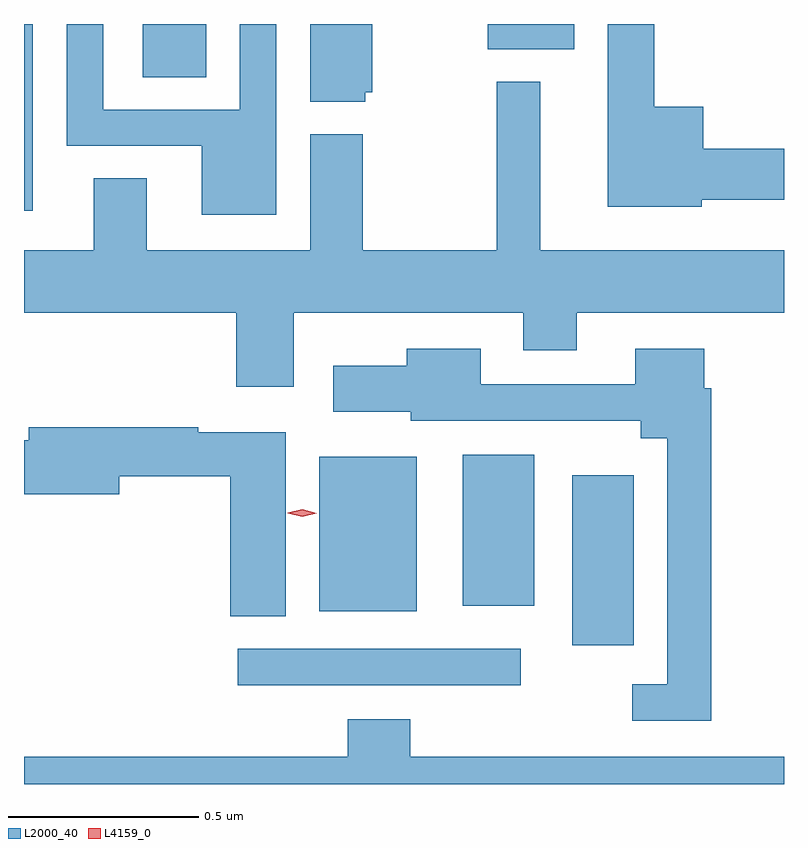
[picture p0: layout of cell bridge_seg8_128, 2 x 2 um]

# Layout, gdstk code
import gdstk
lib = gdstk.Library(unit=1e-6, precision=1e-09)
def R(c, l, rs):  # rectangles x0, y0, x1, y1
    for r in rs: c.add(gdstk.rectangle(r[:2], r[2:], *l))
def P(c, l, *ps):  # polygons
    for p in ps: c.add(gdstk.Polygon(p, *l))
L2000_40 = (2000, 40)
L4159_0 = (4159, 0)

bridge_seg8_128 = lib.new_cell('bridge_seg8_128')
R(bridge_seg8_128, L2000_40, [(738.573,1094.208,739.318,1094.304), (739.454,1094.313,739.615,1094.761), (738.788,1094.402,739.045,1094.809), (739.166,1094.417,739.354,1094.815), (738.011,1095.456,738.034,1095.948), (738.323,1095.808,738.49,1095.948), (739.232,1095.881,739.459,1095.948)])
P(bridge_seg8_128, L2000_40, [(738.675,1095.948),(738.579,1095.948),(738.579,1095.723),(738.219,1095.723),(738.219,1095.948),(738.123,1095.948),(738.123,1095.627),(738.479,1095.627),(738.479,1095.446),(738.675,1095.446)],
  [(739.794,1095.485),(740.011,1095.485),(740.011,1095.62),(739.798,1095.62),(739.798,1095.73),(739.669,1095.73),(739.669,1095.948),(739.547,1095.948),(739.547,1095.467),(739.794,1095.467)],
  [(738.909,1095.768),(738.928,1095.768),(738.928,1095.948),(738.764,1095.948),(738.764,1095.743),(738.909,1095.743)],
  [(738.721,1095.188),(739.325,1095.188),(739.325,1095.089),(739.465,1095.089),(739.465,1095.188),(740.011,1095.188),(740.011,1095.352),(739.369,1095.352),(739.369,1095.796),(739.255,1095.796),(739.255,1095.352),(738.903,1095.352),(738.903,1095.658),(738.764,1095.658),(738.764,1095.352),(738.334,1095.352),(738.334,1095.542),(738.194,1095.542),(738.194,1095.352),(738.011,1095.352),(738.011,1095.188),(738.569,1095.188),(738.569,1094.994),(738.721,1094.994)],
  [(739.82,1094.99),(739.801,1094.99),(739.801,1095.094),(739.619,1095.094),(739.619,1095),(739.213,1095),(739.213,1095.094),(739.018,1095.094),(739.018,1095.049),(738.825,1095.049),(738.825,1094.927),(739.029,1094.927),(739.029,1094.904),(739.634,1094.904),(739.634,1094.858),(739.704,1094.858),(739.704,1094.211),(739.611,1094.211),(739.611,1094.115),(739.82,1094.115)],
  [(738.7,1094.874),(738.47,1094.874),(738.47,1094.887),(738.023,1094.887),(738.023,1094.853),(738.011,1094.853),(738.011,1094.711),(738.262,1094.711),(738.262,1094.758),(738.554,1094.758),(738.554,1094.389),(738.7,1094.389)],
  [(740.011,1094.02),(739.028,1094.02),(739.028,1094.119),(738.863,1094.119),(738.863,1094.02),(738.011,1094.02),(738.011,1093.948),(740.011,1093.948)])
P(bridge_seg8_128, L4159_0, [(738.743,1094.651),(738.705,1094.661),(738.705,1094.661),(738.705,1094.662),(738.743,1094.671),(738.781,1094.661),(738.782,1094.661),(738.781,1094.661)])

lib.write_gds('bridge_seg8_128.gds')
